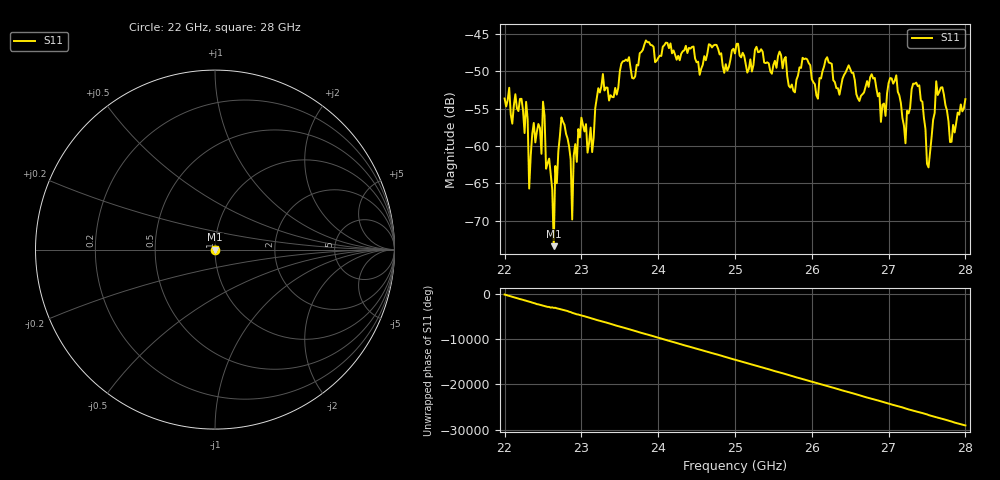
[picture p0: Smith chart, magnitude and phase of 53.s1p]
#  HZ  S  RI  R  50.00
! Rohde & Schwarz ZVA40 4Ports - Version 3.90 - 1145.1110k42 SN: 100403
! Date: 2023-10-04 06:28:08
! Measurement: S12
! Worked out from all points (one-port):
!   301 points, 22 GHz to 28 GHz, reference 50 ohm
!   lowest |S11| = -73.4 dB at 22.64 GHz (marker M1), VSWR 1.00, Z = 50 + j0.0177 ohm
!   |S11| at or under -10 dB: start of sweep to end of sweep
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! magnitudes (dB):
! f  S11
! 22 GHz  -53.6
! 22.28 GHz  -54.1
! 22.32 GHz  -65.7
! 22.38 GHz  -56.9
! 22.48 GHz  -61.0
! 22.5 GHz  -54.1
! 22.54 GHz  -63.1
! 22.62 GHz  -65.8
! 22.64 GHz  -73.4
! 22.66 GHz  -62.7
! 22.76 GHz  -56.7
! 22.86 GHz  -61.8
! 22.88 GHz  -69.8
! 22.9 GHz  -61.3
! 23 GHz  -56.2
! 23.14 GHz  -60.8
! 23.28 GHz  -50.4
! 23.5 GHz  -50.0
! 24.26 GHz  -47.9
! 25 GHz  -47.6
! 25.76 GHz  -52.6
! 26.5 GHz  -49.7
! 27.26 GHz  -55.6
! 27.4 GHz  -51.9
! 27.52 GHz  -62.9
! 27.62 GHz  -51.3
! 27.8 GHz  -59.5
! 28 GHz  -53.7
